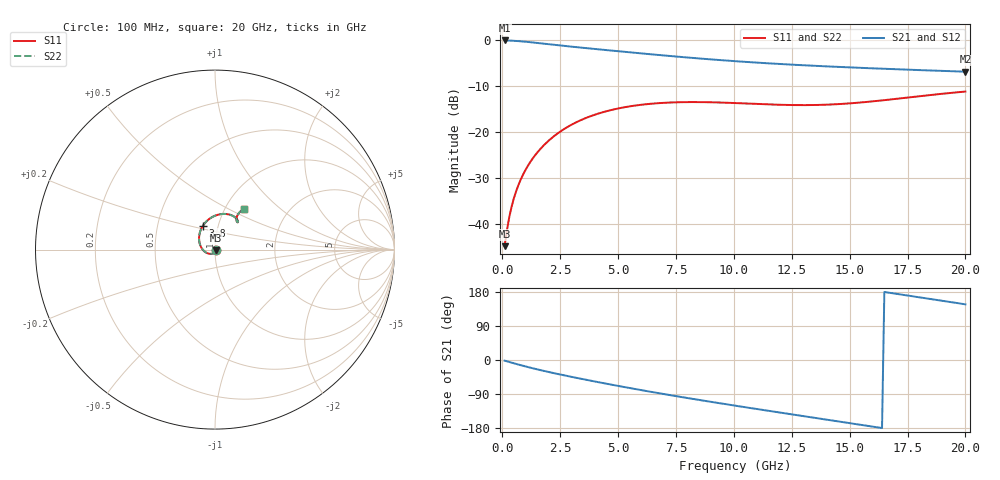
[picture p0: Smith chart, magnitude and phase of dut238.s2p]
! Created with skrf 1.9.0 (http://scikit-rf.org).
# GHz S RI R 50.0
!freq ReS11 ImS11 ReS21 ImS21 ReS12 ImS12 ReS22 ImS22
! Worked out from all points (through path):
!   200 points, 100 MHz to 20 GHz, reference 50 ohm
!   highest |S21| = -0.04 dB at 100 MHz (marker M1); lowest = -6.8 dB at 20 GHz (marker M2)
!   group delay of S21, straight-line fit = 28.2 ps
!   lowest |S11| = -44.8 dB at 100 MHz (marker M3), VSWR 1.01, Z = 50.4 - j0.407 ohm
!   |S11| at or under -10 dB: start of sweep to end of sweep
!   |S22| runs from -44.8 to -11.2 dB; largest |S21 - S12| = 2.2e-15
!   S11 on the Smith chart (normalised r, x): 100 MHz: 1.01, -0.01; 3.8 GHz: 0.85, +0.23; 20 GHz: 1.22, +0.60
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0.1  0.0041 -0.00403  0.9946 -0.0307  0.9946 -0.0307  0.0041 -0.00403
0.2  0.00288 -0.00803  0.9921 -0.0612  0.9921 -0.0612  0.00288 -0.00803
0.3  0.000852 -0.0118  0.9879 -0.0913  0.9879 -0.0913  0.000852 -0.0118
0.4  -0.00197 -0.0153  0.9822 -0.1209  0.9822 -0.1209  -0.00197 -0.0153
0.5  -0.00552 -0.0183  0.9751 -0.1497  0.9751 -0.1497  -0.00552 -0.0183
0.8  -0.0197 -0.0235  0.9463 -0.2315  0.9463 -0.2315  -0.0197 -0.0235
1.1  -0.0366 -0.0222  0.9091 -0.305  0.9091 -0.305  -0.0366 -0.0222
1.6  -0.0635 -0.00581  0.8354 -0.4082  0.8354 -0.4082  -0.0635 -0.00581
2.1  -0.0818 0.0228  0.7551 -0.4903  0.7551 -0.4903  -0.0818 0.0228
2.7  -0.0889 0.0637  0.6559 -0.5671  0.6559 -0.5671  -0.0889 0.0637
3.5  -0.0768 0.1158  0.5229 -0.6406  0.5229 -0.6406  -0.0768 0.1158
3.8  -0.0675 0.1326  0.4733 -0.6608  0.4733 -0.6608  -0.0675 0.1326
5.2  -0.00851 0.185  0.2494 -0.7091  0.2494 -0.7091  -0.00851 0.185
6.8  0.0593 0.1986  0.0236 -0.6892  0.0236 -0.6892  0.0593 0.1986
8.4  0.1046 0.185  -0.1583 -0.6167  -0.1583 -0.6167  0.1046 0.185
10.1  0.1257 0.1647  -0.3037 -0.507  -0.3037 -0.507  0.1257 0.1647
11.7  0.128 0.1532  -0.4006 -0.3871  -0.4006 -0.3871  0.128 0.1532
13.4  0.1227 0.1545  -0.4657 -0.25  -0.4657 -0.25  0.1227 0.1545
15  0.1194 0.1675  -0.4929 -0.1175  -0.4929 -0.1175  0.1194 0.1675
16.7  0.124 0.1888  -0.4867 0.0201  -0.4867 0.0201  0.124 0.1888
18.3  0.1381 0.2092  -0.4496 0.1396  -0.4496 0.1396  0.1381 0.2092
20  0.161 0.2249  -0.3813 0.2484  -0.3813 0.2484  0.161 0.2249
